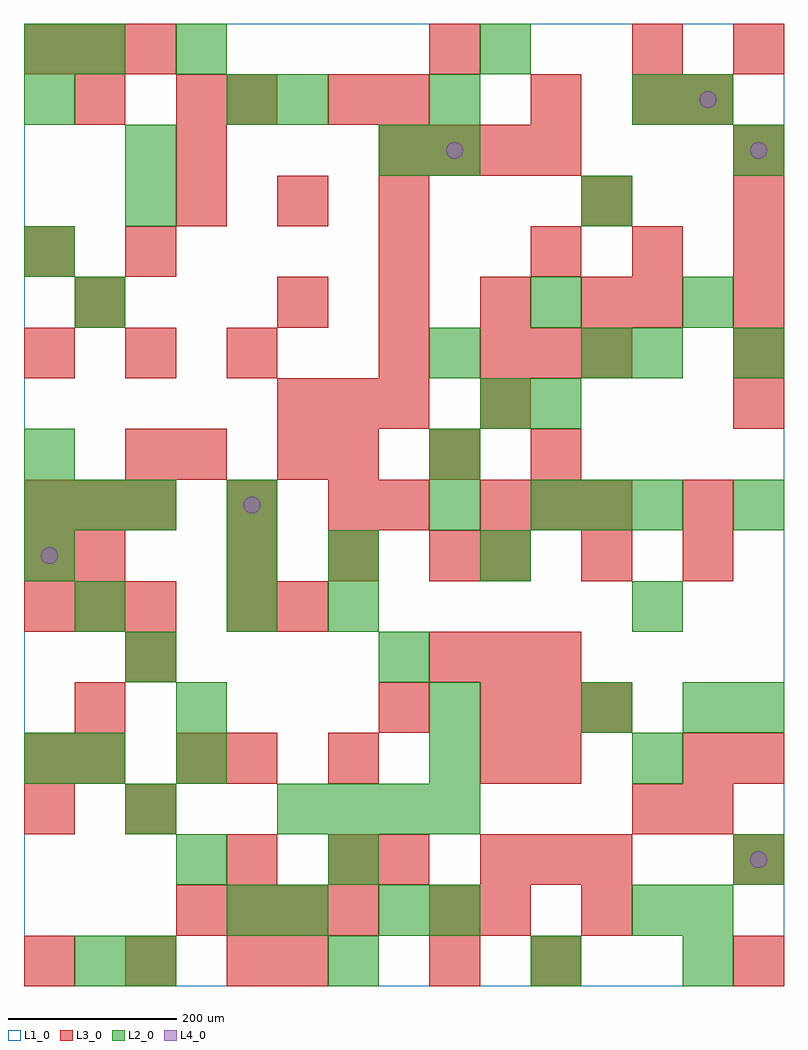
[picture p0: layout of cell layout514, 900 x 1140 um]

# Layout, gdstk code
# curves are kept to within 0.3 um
import gdstk
lib = gdstk.Library(unit=1e-6, precision=1e-09)
def R(c, l, rs):  # rectangles x0, y0, x1, y1
    for r in rs: c.add(gdstk.rectangle(r[:2], r[2:], *l))
def A(c, l, x, y, w, h, nx, ny, dx, dy):  # array of equal rectangles
    R(c, l, [(x+i*dx, y+j*dy, x+i*dx+w, y+j*dy+h) for i in range(nx) for j in range(ny)])
def P(c, l, *ps):  # polygons
    for p in ps: c.add(gdstk.Polygon(p, *l))
L1_0 = (1, 0)
L2_0 = (2, 0)
L3_0 = (3, 0)
L4_0 = (4, 0)

layout514 = lib.new_cell('layout514')
R(layout514, L1_0, [(0,0,900,1140)])
A(layout514, L2_0, 120, 0, 60, 60, 3, 1, 240, 0)
A(layout514, L2_0, 720, 60, 60, 60, 1, 3, 0, 180)
A(layout514, L2_0, 300, 180, 60, 60, 4, 1, 60, 0)
A(layout514, L2_0, 240, 420, 60, 60, 1, 3, 0, 60)
A(layout514, L2_0, 0, 540, 60, 60, 3, 1, 60, 0)
A(layout514, L2_0, 600, 540, 60, 60, 3, 1, 60, 0)
R(layout514, L2_0, [(60,0,120,60), (780,0,840,60), (240,60,300,120), (300,60,360,120), (420,60,480,120), (480,60,540,120), (780,60,840,120), (180,120,240,180), (360,120,420,180), (840,120,900,180), (120,180,180,240), (0,240,60,300), (60,240,120,300), (180,240,240,300), (480,240,540,300), (180,300,240,360), (480,300,540,360), (660,300,720,360), (780,300,840,360), (840,300,900,360), (120,360,180,420), (420,360,480,420), (60,420,120,480), (360,420,420,480), (0,480,60,540), (360,480,420,540), (540,480,600,540), (480,540,540,600), (840,540,900,600), (0,600,60,660), (480,600,540,660), (540,660,600,720), (600,660,660,720), (480,720,540,780), (660,720,720,780), (720,720,780,780), (840,720,900,780), (60,780,120,840), (600,780,660,840), (780,780,840,840), (0,840,60,900), (120,900,180,960), (660,900,720,960), (120,960,180,1020), (420,960,480,1020), (480,960,540,1020), (840,960,900,1020), (0,1020,60,1080), (240,1020,300,1080), (300,1020,360,1080), (480,1020,540,1080), (720,1020,780,1080), (780,1020,840,1080), (0,1080,60,1140), (60,1080,120,1140), (180,1080,240,1140), (540,1080,600,1140)])
A(layout514, L3_0, 0, 0, 60, 60, 3, 2, 120, 720)
A(layout514, L3_0, 840, 0, 60, 60, 1, 3, 0, 120)
A(layout514, L3_0, 180, 60, 60, 60, 4, 1, 60, 0)
A(layout514, L3_0, 540, 120, 60, 60, 3, 2, 60, 180)
A(layout514, L3_0, 180, 240, 60, 60, 1, 3, 0, 360)
A(layout514, L3_0, 120, 360, 60, 60, 1, 3, 0, 240)
A(layout514, L3_0, 480, 360, 60, 60, 3, 1, 60, 0)
A(layout514, L3_0, 0, 420, 60, 60, 3, 2, 60, 120)
A(layout514, L3_0, 240, 480, 60, 60, 3, 1, 120, 0)
A(layout514, L3_0, 540, 480, 60, 60, 3, 1, 120, 0)
A(layout514, L3_0, 540, 540, 60, 60, 3, 2, 60, 180)
A(layout514, L3_0, 360, 600, 60, 60, 3, 1, 120, 0)
A(layout514, L3_0, 300, 660, 60, 60, 3, 1, 60, 0)
A(layout514, L3_0, 840, 660, 60, 60, 1, 3, 0, 60)
A(layout514, L3_0, 300, 780, 60, 60, 4, 1, 120, 0)
A(layout514, L3_0, 600, 840, 60, 60, 3, 1, 120, 0)
A(layout514, L3_0, 180, 900, 60, 60, 3, 1, 120, 0)
A(layout514, L3_0, 420, 960, 60, 60, 4, 1, 60, 0)
A(layout514, L3_0, 0, 1080, 60, 60, 3, 1, 60, 0)
R(layout514, L3_0, [(300,0,360,60), (480,0,540,60), (600,0,660,60), (480,60,540,120), (540,60,600,120), (660,60,720,120), (240,120,300,180), (360,120,420,180), (420,120,480,180), (0,180,60,240), (120,180,180,240), (720,180,780,240), (780,180,840,240), (0,240,60,300), (60,240,120,300), (240,240,300,300), (360,240,420,300), (540,240,600,300), (600,240,660,300), (780,240,840,300), (60,300,120,360), (420,300,480,360), (240,420,300,480), (300,420,360,480), (0,480,60,540), (60,480,120,540), (240,540,300,600), (360,540,420,600), (420,540,480,600), (780,540,840,600), (300,600,360,660), (540,660,600,720), (420,720,480,780), (60,780,120,840), (720,780,780,840), (0,840,60,900), (420,840,480,900), (660,900,720,960), (840,900,900,960), (840,960,900,1020), (60,1020,120,1080), (180,1020,240,1080), (240,1020,300,1080), (360,1020,420,1080), (420,1020,480,1080), (600,1020,660,1080), (720,1020,780,1080), (780,1020,840,1080), (480,1080,540,1140), (720,1080,780,1140), (840,1080,900,1140)])
P(layout514, L4_0, [(40,510),(39.239,513.827),(37.071,517.071),(33.827,519.239),(30,520),(26.173,519.239),(22.929,517.071),(20.761,513.827),(20,510),(20.761,506.173),(22.929,502.929),(26.173,500.761),(30,500),(33.827,500.761),(37.071,502.929),(39.239,506.173)],
  [(280,570),(279.239,573.827),(277.071,577.071),(273.827,579.239),(270,580),(266.173,579.239),(262.929,577.071),(260.761,573.827),(260,570),(260.761,566.173),(262.929,562.929),(266.173,560.761),(270,560),(273.827,560.761),(277.071,562.929),(279.239,566.173)],
  [(520,990),(519.239,993.827),(517.071,997.071),(513.827,999.239),(510,1000),(506.173,999.239),(502.929,997.071),(500.761,993.827),(500,990),(500.761,986.173),(502.929,982.929),(506.173,980.761),(510,980),(513.827,980.761),(517.071,982.929),(519.239,986.173)],
  [(820,1050),(819.239,1053.827),(817.071,1057.071),(813.827,1059.239),(810,1060),(806.173,1059.239),(802.929,1057.071),(800.761,1053.827),(800,1050),(800.761,1046.173),(802.929,1042.929),(806.173,1040.761),(810,1040),(813.827,1040.761),(817.071,1042.929),(819.239,1046.173)],
  [(880,150),(879.239,153.827),(877.071,157.071),(873.827,159.239),(870,160),(866.173,159.239),(862.929,157.071),(860.761,153.827),(860,150),(860.761,146.173),(862.929,142.929),(866.173,140.761),(870,140),(873.827,140.761),(877.071,142.929),(879.239,146.173)],
  [(880,990),(879.239,993.827),(877.071,997.071),(873.827,999.239),(870,1000),(866.173,999.239),(862.929,997.071),(860.761,993.827),(860,990),(860.761,986.173),(862.929,982.929),(866.173,980.761),(870,980),(873.827,980.761),(877.071,982.929),(879.239,986.173)])

lib.write_gds('layout514.gds')
